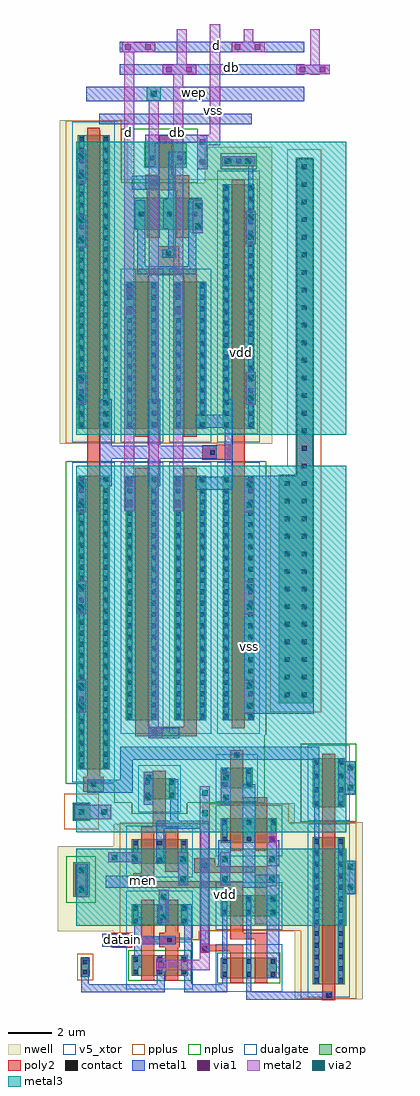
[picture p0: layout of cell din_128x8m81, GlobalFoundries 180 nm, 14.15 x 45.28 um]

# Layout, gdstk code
from math import pi, radians
import gdstk
lib = gdstk.Library(unit=1e-6, precision=1e-09)
def R(c, l, rs):  # rectangles x0, y0, x1, y1
    for r in rs: c.add(gdstk.rectangle(r[:2], r[2:], *l))
def A(c, l, x, y, w, h, nx, ny, dx, dy):  # array of equal rectangles
    R(c, l, [(x+i*dx, y+j*dy, x+i*dx+w, y+j*dy+h) for i in range(nx) for j in range(ny)])
def P(c, l, *ps):  # polygons
    for p in ps: c.add(gdstk.Polygon(p, *l))
nwell = (21, 0)
comp = (22, 0)
poly2 = (30, 0)
pplus = (31, 0)
nplus = (32, 0)
contact = (33, 0)
metal1 = (34, 0)
via1 = (35, 0)
metal2 = (36, 0)
via2 = (38, 0)
metal3 = (42, 0)
dualgate = (55, 0)
v5_xtor = (112, 1)

via1_x2_r90_128x8m81 = lib.new_cell('via1_x2_R90_128x8m81')
R(via1_x2_r90_128x8m81, metal1, [(0,0,0.46,1.54)])
R(via1_x2_r90_128x8m81, via1, [(0.1,0.2,0.36,0.46), (0.1,1.13,0.36,1.39)])
R(via1_x2_r90_128x8m81, metal2, [(0,0,0.46,1.54)])

m1_pactive4310590548728_ = lib.new_cell('M1_PACTIVE4310590548728_128x8m81')
R(m1_pactive4310590548728_, comp, [(-0.21,-0.445,0.21,0.445)])
R(m1_pactive4310590548728_, pplus, [(-0.37,-0.605,0.37,0.605)])
R(m1_pactive4310590548728_, contact, [(-0.11,-0.345,0.11,-0.125), (-0.11,0.125,0.11,0.345)])
R(m1_pactive4310590548728_, metal1, [(-0.17,-0.405,0.17,0.405)])

m1_psub__45111340_128x8m = lib.new_cell('M1_PSUB$$45111340_128x8m81')
R(m1_psub__45111340_128x8m, comp, [(-0.4,-0.415,0.4,0.415)])
R(m1_psub__45111340_128x8m, pplus, [(-0.795,-0.82,0.795,0.82)])
R(m1_psub__45111340_128x8m, contact, [(-0.11,-0.11,0.11,0.11)])
R(m1_psub__45111340_128x8m, metal1, [(-0.355,-0.37,0.355,0.37)])

m1_poly24310590548732_12 = lib.new_cell('M1_POLY24310590548732_128x8m81')
R(m1_poly24310590548732_12, poly2, [(-0.21,-0.21,0.21,0.21)])
R(m1_poly24310590548732_12, contact, [(-0.11,-0.11,0.11,0.11)])
R(m1_poly24310590548732_12, metal1, [(-0.17,-0.17,0.17,0.17)])

pmos_5p0431059054871_128 = lib.new_cell('pmos_5p0431059054871_128x8m81')
R(pmos_5p0431059054871_128, nwell, [(-1.04,-0.6,1.64,7.41)])
R(pmos_5p0431059054871_128, comp, [(-0.44,0,1.04,6.81), (-0.44,0,-0.08,6.81), (0.68,0,1.04,6.81)])
R(pmos_5p0431059054871_128, poly2, [(0,-0.22,0.6,7.03), (0,6.81,0.6,7.03)])
R(pmos_5p0431059054871_128, pplus, [(-0.6,-0.23,1.2,7.04)])
A(pmos_5p0431059054871_128, contact, -0.37, 0.07, 0.22, 0.22, 1, 7, 0, 0.54)
A(pmos_5p0431059054871_128, contact, 0.75, 0.07, 0.22, 0.22, 1, 7, 0, 0.54)
A(pmos_5p0431059054871_128, contact, -0.37, 3.845, 0.22, 0.22, 1, 6, 0, 0.535)
A(pmos_5p0431059054871_128, contact, 0.75, 3.845, 0.22, 0.22, 1, 6, 0, 0.535)
R(pmos_5p0431059054871_128, metal1, [(-0.375,0,-0.145,6.81), (-0.375,0,-0.145,6.81), (0.745,0,0.975,6.81), (0.745,0,0.975,6.81)])
R(pmos_5p0431059054871_128, dualgate, [(-0.68,-0.62,1.28,7.43)])
R(pmos_5p0431059054871_128, v5_xtor, [(-0.68,-0.62,1.28,7.43)])
pmos_5p0431059054871_128.add(gdstk.Label('S', (-0.26,3.405), layer=34, texttype=0))
pmos_5p0431059054871_128.add(gdstk.Label('D', (0.86,3.405), layer=34, texttype=0))

pmos_1p2__46889004_128x8 = lib.new_cell('pmos_1p2$$46889004_128x8m81')
R(pmos_1p2__46889004_128x8, nwell, [(-1.43,-0.71,1.715,7.51)])
R(pmos_1p2__46889004_128x8, poly2, [(-0.155,-0.37,0.445,-0.005), (-0.155,6.805,0.445,7.165)])
R(pmos_1p2__46889004_128x8, pplus, [(-1.145,-0.685,1.43,7.485)])
pmos_1p2__46889004_128x8.add(gdstk.Reference(pmos_5p0431059054871_128, (-0.155,0)))

via1_r90_128x8m81 = lib.new_cell('via1_R90_128x8m81')
R(via1_r90_128x8m81, metal1, [(0,0,0.465,0.64)])
R(via1_r90_128x8m81, via1, [(0.1,0.2,0.36,0.46)])
R(via1_r90_128x8m81, metal2, [(0,0,0.465,0.635)])

via1_x2_128x8m81 = lib.new_cell('via1_x2_128x8m81')
R(via1_x2_128x8m81, metal1, [(0,-0.005,0.46,1.59)])
R(via1_x2_128x8m81, via1, [(0.1,0.2,0.36,0.46), (0.1,1.13,0.36,1.39)])
R(via1_x2_128x8m81, metal2, [(0,0,0.46,1.59)])

m1_nwell4310590548733_12 = lib.new_cell('M1_NWELL4310590548733_128x8m81')
R(m1_nwell4310590548733_12, nwell, [(-0.64,-0.43,0.64,0.43)])
R(m1_nwell4310590548733_12, comp, [(-0.68,-0.21,0.68,0.21)])
R(m1_nwell4310590548733_12, nplus, [(-0.84,-0.37,0.84,0.37)])
A(m1_nwell4310590548733_12, contact, -0.58, -0.11, 0.22, 0.22, 3, 1, 0.47, 0)
R(m1_nwell4310590548733_12, metal1, [(-0.64,-0.17,0.64,0.17)])

via2_x2_r90_128x8m81 = lib.new_cell('via2_x2_R90_128x8m81')
R(via2_x2_r90_128x8m81, metal2, [(0,0,0.46,1.54)])
R(via2_x2_r90_128x8m81, via2, [(0.1,0.2,0.36,0.46), (0.1,1.13,0.36,1.39)])
R(via2_x2_r90_128x8m81, metal3, [(0,-0.005,0.465,1.54)])

via1_2_x2_r90_128x8m81 = lib.new_cell('via1_2_x2_R90_128x8m81')
via1_2_x2_r90_128x8m81.add(gdstk.Reference(via1_x2_r90_128x8m81, (0,0)))
via1_2_x2_r90_128x8m81.add(gdstk.Reference(via2_x2_r90_128x8m81, (0,0)))

po_m1_r270_128x8m81 = lib.new_cell('po_m1_R270_128x8m81')
P(po_m1_r270_128x8m81, poly2, [(-0.005,-0.155),(-0.005,0.815),(0.685,0.815),(0.685,-0.095),(0.68,-0.095),(0.68,-0.155)])
R(po_m1_r270_128x8m81, contact, [(0.23,0.22,0.45,0.44)])
R(po_m1_r270_128x8m81, metal1, [(0.04,0.15,0.64,0.505)])

m2_m1__46894124_128x8m81 = lib.new_cell('M2_M1$$46894124_128x8m81')
R(m2_m1__46894124_128x8m81, metal1, [(-0.32,-0.335,0.325,0.335)])
R(m2_m1__46894124_128x8m81, via1, [(-0.13,-0.13,0.13,0.13)])
R(m2_m1__46894124_128x8m81, metal2, [(-0.32,-0.335,0.325,0.335)])

po_m1_128x8m81 = lib.new_cell('po_m1_128x8m81')
R(po_m1_128x8m81, poly2, [(-0.15,0,0.81,0.68)])
R(po_m1_128x8m81, contact, [(0.22,0.23,0.44,0.45)])
R(po_m1_128x8m81, metal1, [(0.045,0.155,0.62,0.525)])

m1_psub__46892076_128x8m = lib.new_cell('M1_PSUB$$46892076_128x8m81')
R(m1_psub__46892076_128x8m, comp, [(-0.4,-12.65,0.4,12.655)])
R(m1_psub__46892076_128x8m, pplus, [(-0.795,-13.06,0.795,13.065)])
A(m1_psub__46892076_128x8m, contact, -0.11, -11.535, 0.22, 0.22, 1, 5, 0, 0.815)
A(m1_psub__46892076_128x8m, contact, -0.11, -7.455, 0.22, 0.22, 1, 4, 0, 0.815)
A(m1_psub__46892076_128x8m, contact, -0.11, -4.19, 0.22, 0.22, 1, 4, 0, 0.815)
A(m1_psub__46892076_128x8m, contact, -0.11, -0.925, 0.22, 0.22, 1, 3, 0, 0.815)
A(m1_psub__46892076_128x8m, contact, -0.11, 1.525, 0.22, 0.22, 1, 4, 0, 0.815)
A(m1_psub__46892076_128x8m, contact, -0.11, 4.79, 0.22, 0.22, 1, 4, 0, 0.815)
A(m1_psub__46892076_128x8m, contact, -0.11, 8.055, 0.22, 0.22, 1, 5, 0, 0.815)
R(m1_psub__46892076_128x8m, contact, [(-0.11,-12.355,0.11,-12.135), (-0.11,12.135,0.11,12.355)])
R(m1_psub__46892076_128x8m, metal1, [(-0.355,-12.61,0.355,12.61)])

m1_nwell__46891052_128x8 = lib.new_cell('M1_NWELL$$46891052_128x8m81')
R(m1_nwell__46891052_128x8, nwell, [(-1.105,-1.545,1.105,1.545)])
R(m1_nwell__46891052_128x8, comp, [(-0.39,-0.81,0.39,0.81)])
R(m1_nwell__46891052_128x8, nplus, [(-0.655,-1.08,0.65,1.08)])
R(m1_nwell__46891052_128x8, contact, [(-0.11,-0.52,0.11,-0.3), (-0.11,0.3,0.11,0.52)])
P(m1_nwell__46891052_128x8, metal1, [(-0.235,-0.71),(-0.235,-0.705),(-0.29,-0.705),(-0.29,0.71),(0.29,0.71),(0.29,-0.705),(0.235,-0.705),(0.235,-0.71)])

via1_128x8m81 = lib.new_cell('via1_128x8m81')
P(via1_128x8m81, metal1, [(0,-0.005),(0,0.66),(0.465,0.66),(0.465,0),(0.445,0),(0.445,-0.005)])
R(via1_128x8m81, via1, [(0.1,0.2,0.36,0.46)])
R(via1_128x8m81, metal2, [(0,0,0.465,0.66)])

via2_x2_128x8m81 = lib.new_cell('via2_x2_128x8m81')
R(via2_x2_128x8m81, metal2, [(0,-0.005,0.465,1.59)])
R(via2_x2_128x8m81, via2, [(0.1,0.2,0.36,0.46), (0.1,1.13,0.36,1.39)])
R(via2_x2_128x8m81, metal3, [(0,-0.005,0.465,1.59)])

via1_2_x2_128x8m81 = lib.new_cell('via1_2_x2_128x8m81')
via1_2_x2_128x8m81.add(gdstk.Reference(via1_x2_r90_128x8m81, (0,0)))
via1_2_x2_128x8m81.add(gdstk.Reference(via2_x2_r90_128x8m81, (0,0)))

po_m1_r90_128x8m81 = lib.new_cell('po_m1_R90_128x8m81')
R(po_m1_r90_128x8m81, poly2, [(0,-0.15,0.68,0.81)])
R(po_m1_r90_128x8m81, contact, [(0.23,0.22,0.45,0.44)])
R(po_m1_r90_128x8m81, metal1, [(0.04,0.155,0.635,0.51)])

m2_m1__43375660_r90_128x = lib.new_cell('M2_M1$$43375660_R90_128x8m81')
R(m2_m1__43375660_r90_128x, metal1, [(-0.335,-0.85,0.335,0.85)])
R(m2_m1__43375660_r90_128x, via1, [(-0.13,-0.66,0.13,-0.4), (-0.13,0.4,0.13,0.66)])
R(m2_m1__43375660_r90_128x, metal2, [(-0.335,-0.85,0.335,0.85)])

pmos_5p0431059054873_128 = lib.new_cell('pmos_5p0431059054873_128x8m81')
R(pmos_5p0431059054873_128, nwell, [(-1.04,-0.6,2.76,1.74)])
A(pmos_5p0431059054873_128, comp, -0.44, 0, 0.36, 1.14, 3, 1, 1.12, 0)
R(pmos_5p0431059054873_128, comp, [(-0.44,0,2.16,1.14)])
R(pmos_5p0431059054873_128, poly2, [(0,-0.22,0.6,1.36), (1.12,-0.22,1.72,1.36), (0,1.14,0.6,1.36), (1.12,1.14,1.72,1.36)])
R(pmos_5p0431059054873_128, pplus, [(-0.6,-0.23,2.32,1.37)])
A(pmos_5p0431059054873_128, contact, -0.37, 0.07, 0.22, 0.22, 3, 2, 1.12, 0.78)
R(pmos_5p0431059054873_128, metal1, [(-0.375,0,-0.145,1.14), (-0.375,0,-0.145,1.14), (0.745,0,0.975,1.14), (0.745,0,0.975,1.14), (1.865,0,2.095,1.14), (1.865,0,2.095,1.14)])
R(pmos_5p0431059054873_128, dualgate, [(-0.68,-0.62,2.4,1.76)])
R(pmos_5p0431059054873_128, v5_xtor, [(-0.68,-0.62,2.4,1.76)])
pmos_5p0431059054873_128.add(gdstk.Label('S', (-0.26,0.57), layer=34, texttype=0))
pmos_5p0431059054873_128.add(gdstk.Label('S', (1.98,0.57), layer=34, texttype=0))
pmos_5p0431059054873_128.add(gdstk.Label('D', (0.86,0.57), layer=34, texttype=0))

pmos_1p2__46273580_128x8 = lib.new_cell('pmos_1p2$$46273580_128x8m81')
R(pmos_1p2__46273580_128x8, nwell, [(-1.43,-0.71,2.84,0.175)])
R(pmos_1p2__46273580_128x8, poly2, [(-0.155,-0.37,0.445,-0.005), (0.965,-0.37,1.565,-0.005), (-0.155,1.135,0.445,1.5), (0.965,1.135,1.565,1.5)])
R(pmos_1p2__46273580_128x8, pplus, [(-1.145,-0.685,2.55,1.82)])
pmos_1p2__46273580_128x8.add(gdstk.Reference(pmos_5p0431059054873_128, (-0.155,0)))

m3_m2__46895148_128x8m81 = lib.new_cell('M3_M2$$46895148_128x8m81')
R(m3_m2__46895148_128x8m81, metal2, [(-0.325,-0.335,0.32,0.335)])
R(m3_m2__46895148_128x8m81, via2, [(-0.13,-0.13,0.13,0.13)])
R(m3_m2__46895148_128x8m81, metal3, [(-0.325,-0.335,0.325,0.335)])

pmos_5p0431059054874_128 = lib.new_cell('pmos_5p0431059054874_128x8m81')
R(pmos_5p0431059054874_128, nwell, [(-1.04,-0.6,1.64,14.21)])
R(pmos_5p0431059054874_128, comp, [(-0.44,0,1.04,13.61), (-0.44,0,-0.08,13.61), (0.68,0,1.04,13.61)])
R(pmos_5p0431059054874_128, poly2, [(0,-0.22,0.6,13.83), (0,13.61,0.6,13.83)])
R(pmos_5p0431059054874_128, pplus, [(-0.6,-0.23,1.2,13.84)])
A(pmos_5p0431059054874_128, contact, -0.37, 0.07, 0.22, 0.22, 1, 25, 0, 0.51)
A(pmos_5p0431059054874_128, contact, 0.75, 0.07, 0.22, 0.22, 1, 25, 0, 0.51)
R(pmos_5p0431059054874_128, contact, [(-0.37,12.815,-0.15,13.035), (0.75,12.815,0.97,13.035), (-0.37,13.32,-0.15,13.54), (0.75,13.32,0.97,13.54)])
R(pmos_5p0431059054874_128, metal1, [(-0.375,0,-0.145,13.61), (-0.375,0,-0.145,13.61), (0.745,0,0.975,13.61), (0.745,0,0.975,13.61)])
R(pmos_5p0431059054874_128, dualgate, [(-0.68,-0.62,1.28,14.23)])
R(pmos_5p0431059054874_128, v5_xtor, [(-0.68,-0.62,1.28,14.23)])
pmos_5p0431059054874_128.add(gdstk.Label('S', (-0.26,6.805), layer=34, texttype=0))
pmos_5p0431059054874_128.add(gdstk.Label('D', (0.86,6.805), layer=34, texttype=0))

pmos_1p2__46887980_128x8 = lib.new_cell('pmos_1p2$$46887980_128x8m81')
R(pmos_1p2__46887980_128x8, nwell, [(-1.43,-0.71,1.72,14.31)])
R(pmos_1p2__46887980_128x8, poly2, [(-0.155,-0.37,0.44,-0.005), (-0.155,13.605,0.44,13.97)])
R(pmos_1p2__46887980_128x8, pplus, [(-1.145,-0.685,1.43,14.285)])
pmos_1p2__46887980_128x8.add(gdstk.Reference(pmos_5p0431059054874_128, (-0.155,0)))

nmos_5p0431059054875_128 = lib.new_cell('nmos_5p0431059054875_128x8m81')
R(nmos_5p0431059054875_128, comp, [(-0.44,0,1.04,11.34), (-0.44,0,-0.08,11.34), (0.68,0,1.04,11.34)])
R(nmos_5p0431059054875_128, poly2, [(0,-0.22,0.6,11.56), (0,11.34,0.6,11.56)])
R(nmos_5p0431059054875_128, nplus, [(-0.6,-0.23,1.2,11.57)])
A(nmos_5p0431059054875_128, contact, -0.37, 0.07, 0.22, 0.22, 1, 13, 0, 0.525)
A(nmos_5p0431059054875_128, contact, 0.75, 0.07, 0.22, 0.22, 1, 13, 0, 0.525)
A(nmos_5p0431059054875_128, contact, -0.37, 6.89, 0.22, 0.22, 1, 9, 0, 0.52)
A(nmos_5p0431059054875_128, contact, 0.75, 6.89, 0.22, 0.22, 1, 9, 0, 0.52)
R(nmos_5p0431059054875_128, metal1, [(-0.375,0,-0.145,11.34), (-0.375,0,-0.145,11.34), (0.745,0,0.975,11.34), (0.745,0,0.975,11.34)])
R(nmos_5p0431059054875_128, dualgate, [(-0.68,-0.62,1.28,11.96)])
R(nmos_5p0431059054875_128, v5_xtor, [(-0.68,-0.62,1.28,11.96)])
nmos_5p0431059054875_128.add(gdstk.Label('S', (-0.26,5.67), layer=34, texttype=0))
nmos_5p0431059054875_128.add(gdstk.Label('D', (0.86,5.67), layer=34, texttype=0))

nmos_1p2__46883884_128x8 = lib.new_cell('nmos_1p2$$46883884_128x8m81')
R(nmos_1p2__46883884_128x8, poly2, [(-0.155,-0.365,0.445,-0.005), (-0.155,11.34,0.445,11.705)])
R(nmos_1p2__46883884_128x8, nplus, [(-1.145,-0.685,1.43,12.02)])
nmos_1p2__46883884_128x8.add(gdstk.Reference(nmos_5p0431059054875_128, (-0.155,0)))

pmos_5p0431059054876_128 = lib.new_cell('pmos_5p0431059054876_128x8m81')
R(pmos_5p0431059054876_128, nwell, [(-1.04,-0.6,2.76,1.56)])
A(pmos_5p0431059054876_128, comp, -0.44, 0, 0.36, 0.96, 3, 1, 1.12, 0)
R(pmos_5p0431059054876_128, comp, [(-0.44,0,2.16,0.96)])
R(pmos_5p0431059054876_128, poly2, [(0,-0.22,0.6,1.18), (1.12,-0.22,1.72,1.18), (0,0.96,0.6,1.18), (1.12,0.96,1.72,1.18)])
R(pmos_5p0431059054876_128, pplus, [(-0.6,-0.23,2.32,1.19)])
A(pmos_5p0431059054876_128, contact, -0.37, 0.07, 0.22, 0.22, 3, 2, 1.12, 0.6)
R(pmos_5p0431059054876_128, metal1, [(-0.375,0,-0.145,0.96), (-0.375,0,-0.145,0.96), (0.745,0,0.975,0.96), (0.745,0,0.975,0.96), (1.865,0,2.095,0.96), (1.865,0,2.095,0.96)])
R(pmos_5p0431059054876_128, dualgate, [(-0.68,-0.62,2.4,1.58)])
R(pmos_5p0431059054876_128, v5_xtor, [(-0.68,-0.62,2.4,1.58)])
pmos_5p0431059054876_128.add(gdstk.Label('S', (-0.26,0.48), layer=34, texttype=0))
pmos_5p0431059054876_128.add(gdstk.Label('S', (1.98,0.48), layer=34, texttype=0))
pmos_5p0431059054876_128.add(gdstk.Label('D', (0.86,0.48), layer=34, texttype=0))

pmos_1p2__46885932_128x8 = lib.new_cell('pmos_1p2$$46885932_128x8m81')
R(pmos_1p2__46885932_128x8, nwell, [(-1.43,-0.705,2.84,1.66)])
R(pmos_1p2__46885932_128x8, poly2, [(-0.155,-0.37,0.445,0), (0.965,-0.365,1.565,0), (-0.155,0.955,0.445,1.32), (0.965,0.955,1.565,1.32)])
R(pmos_1p2__46885932_128x8, pplus, [(-1.145,-0.68,2.55,1.635)])
pmos_1p2__46885932_128x8.add(gdstk.Reference(pmos_5p0431059054876_128, (-0.155,0)))

nmos_5p0431059054877_128 = lib.new_cell('nmos_5p0431059054877_128x8m81')
R(nmos_5p0431059054877_128, comp, [(-0.44,0,1.04,13.61), (-0.44,0,-0.08,13.61), (0.68,0,1.04,13.61)])
R(nmos_5p0431059054877_128, poly2, [(0,-0.22,0.6,13.83), (0,13.61,0.6,13.83)])
R(nmos_5p0431059054877_128, nplus, [(-0.6,-0.23,1.2,13.84)])
A(nmos_5p0431059054877_128, contact, -0.37, 0.07, 0.22, 0.22, 1, 25, 0, 0.51)
A(nmos_5p0431059054877_128, contact, 0.75, 0.07, 0.22, 0.22, 1, 25, 0, 0.51)
R(nmos_5p0431059054877_128, contact, [(-0.37,12.815,-0.15,13.035), (0.75,12.815,0.97,13.035), (-0.37,13.32,-0.15,13.54), (0.75,13.32,0.97,13.54)])
R(nmos_5p0431059054877_128, metal1, [(-0.375,0,-0.145,13.61), (-0.375,0,-0.145,13.61), (0.745,0,0.975,13.61), (0.745,0,0.975,13.61)])
R(nmos_5p0431059054877_128, dualgate, [(-0.68,-0.62,1.28,14.23)])
R(nmos_5p0431059054877_128, v5_xtor, [(-0.68,-0.62,1.28,14.23)])
nmos_5p0431059054877_128.add(gdstk.Label('S', (-0.26,6.805), layer=34, texttype=0))
nmos_5p0431059054877_128.add(gdstk.Label('D', (0.86,6.805), layer=34, texttype=0))

nmos_1p2__46884908_128x8 = lib.new_cell('nmos_1p2$$46884908_128x8m81')
R(nmos_1p2__46884908_128x8, poly2, [(-0.155,-0.37,0.445,-0.005), (-0.155,13.605,0.445,13.97)])
R(nmos_1p2__46884908_128x8, nplus, [(-1.145,-0.685,1.43,14.285)])
nmos_1p2__46884908_128x8.add(gdstk.Reference(nmos_5p0431059054877_128, (-0.155,0)))

m3_m2__43368492_r90_128x = lib.new_cell('M3_M2$$43368492_R90_128x8m81')
R(m3_m2__43368492_r90_128x, metal2, [(-0.335,-0.85,0.335,0.85)])
R(m3_m2__43368492_r90_128x, via2, [(-0.13,-0.66,0.13,-0.4), (-0.13,0.4,0.13,0.66)])
R(m3_m2__43368492_r90_128x, metal3, [(-0.335,-0.85,0.335,0.85)])

nmos_5p0431059054878_128 = lib.new_cell('nmos_5p0431059054878_128x8m81')
R(nmos_5p0431059054878_128, comp, [(-0.44,0,1.04,0.96), (-0.44,0,-0.08,0.96), (0.68,0,1.04,0.96)])
R(nmos_5p0431059054878_128, poly2, [(0,-0.22,0.6,1.18), (0,0.96,0.6,1.18)])
R(nmos_5p0431059054878_128, nplus, [(-0.6,-0.23,1.2,1.19)])
R(nmos_5p0431059054878_128, contact, [(-0.37,0.07,-0.15,0.29), (0.75,0.07,0.97,0.29), (-0.37,0.67,-0.15,0.89), (0.75,0.67,0.97,0.89)])
R(nmos_5p0431059054878_128, metal1, [(-0.375,0,-0.145,0.96), (-0.375,0,-0.145,0.96), (0.745,0,0.975,0.96), (0.745,0,0.975,0.96)])
R(nmos_5p0431059054878_128, dualgate, [(-0.68,-0.62,1.28,1.58)])
R(nmos_5p0431059054878_128, v5_xtor, [(-0.68,-0.62,1.28,1.58)])
nmos_5p0431059054878_128.add(gdstk.Label('S', (-0.26,0.48), layer=34, texttype=0))
nmos_5p0431059054878_128.add(gdstk.Label('D', (0.86,0.48), layer=34, texttype=0))

nmos_1p2__46563372_128x8 = lib.new_cell('nmos_1p2$$46563372_128x8m81')
R(nmos_1p2__46563372_128x8, poly2, [(-0.155,-0.37,0.44,-0.005), (-0.15,-0.37,0.445,-0.005), (-0.155,0.955,0.44,1.32), (-0.15,0.955,0.445,1.32)])
R(nmos_1p2__46563372_128x8, nplus, [(-1.145,-0.685,1.43,1.635)])
nmos_1p2__46563372_128x8.add(gdstk.Reference(nmos_5p0431059054878_128, (-0.155,0)))

m1_psub__46893100_128x8m = lib.new_cell('M1_PSUB$$46893100_128x8m81')
R(m1_psub__46893100_128x8m, comp, [(-0.4,-5.305,0.4,5.31)])
R(m1_psub__46893100_128x8m, pplus, [(-0.795,-5.715,0.795,5.72)])
A(m1_psub__46893100_128x8m, contact, -0.11, -4.19, 0.22, 0.22, 1, 4, 0, 0.815)
A(m1_psub__46893100_128x8m, contact, -0.11, -0.925, 0.22, 0.22, 1, 3, 0, 0.815)
A(m1_psub__46893100_128x8m, contact, -0.11, 1.525, 0.22, 0.22, 1, 4, 0, 0.815)
R(m1_psub__46893100_128x8m, contact, [(-0.11,-5.01,0.11,-4.79), (-0.11,4.79,0.11,5.01)])
R(m1_psub__46893100_128x8m, metal1, [(-0.355,-5.265,0.355,5.265)])

pmos_5p0431059054879_128 = lib.new_cell('pmos_5p0431059054879_128x8m81')
R(pmos_5p0431059054879_128, nwell, [(-1.04,-0.6,1.64,11.94)])
R(pmos_5p0431059054879_128, comp, [(-0.44,0,1.04,11.34), (-0.44,0,-0.08,11.34), (0.68,0,1.04,11.34)])
R(pmos_5p0431059054879_128, poly2, [(0,-0.22,0.6,11.56), (0,11.34,0.6,11.56)])
R(pmos_5p0431059054879_128, pplus, [(-0.6,-0.23,1.2,11.57)])
A(pmos_5p0431059054879_128, contact, -0.37, 0.07, 0.22, 0.22, 1, 13, 0, 0.525)
A(pmos_5p0431059054879_128, contact, 0.75, 0.07, 0.22, 0.22, 1, 13, 0, 0.525)
A(pmos_5p0431059054879_128, contact, -0.37, 6.89, 0.22, 0.22, 1, 9, 0, 0.52)
A(pmos_5p0431059054879_128, contact, 0.75, 6.89, 0.22, 0.22, 1, 9, 0, 0.52)
R(pmos_5p0431059054879_128, metal1, [(-0.375,0,-0.145,11.34), (-0.375,0,-0.145,11.34), (0.745,0,0.975,11.34), (0.745,0,0.975,11.34)])
R(pmos_5p0431059054879_128, dualgate, [(-0.68,-0.62,1.28,11.96)])
R(pmos_5p0431059054879_128, v5_xtor, [(-0.68,-0.62,1.28,11.96)])
pmos_5p0431059054879_128.add(gdstk.Label('S', (-0.26,5.67), layer=34, texttype=0))
pmos_5p0431059054879_128.add(gdstk.Label('D', (0.86,5.67), layer=34, texttype=0))

nmos_5p04310590548710_12 = lib.new_cell('nmos_5p04310590548710_128x8m81')
R(nmos_5p04310590548710_12, comp, [(-0.44,0,1.04,2.27), (-0.44,0,-0.08,2.27), (0.68,0,1.04,2.27)])
R(nmos_5p04310590548710_12, poly2, [(0,-0.22,0.6,2.49), (0,2.27,0.6,2.49)])
R(nmos_5p04310590548710_12, nplus, [(-0.6,-0.23,1.2,2.5)])
A(nmos_5p04310590548710_12, contact, -0.37, 0.71, 0.22, 0.22, 1, 3, 0, 0.635)
A(nmos_5p04310590548710_12, contact, 0.75, 0.71, 0.22, 0.22, 1, 3, 0, 0.635)
R(nmos_5p04310590548710_12, contact, [(-0.37,0.07,-0.15,0.29), (0.75,0.07,0.97,0.29)])
R(nmos_5p04310590548710_12, metal1, [(-0.375,0,-0.145,2.27), (-0.375,0,-0.145,2.27), (0.745,0,0.975,2.27), (0.745,0,0.975,2.27)])
R(nmos_5p04310590548710_12, dualgate, [(-0.68,-0.62,1.28,2.89)])
R(nmos_5p04310590548710_12, v5_xtor, [(-0.68,-0.62,1.28,2.89)])
nmos_5p04310590548710_12.add(gdstk.Label('S', (-0.26,1.135), layer=34, texttype=0))
nmos_5p04310590548710_12.add(gdstk.Label('D', (0.86,1.135), layer=34, texttype=0))

nmos_5p04310590548711_12 = lib.new_cell('nmos_5p04310590548711_128x8m81')
A(nmos_5p04310590548711_12, comp, -0.44, 0, 0.36, 0.96, 3, 1, 1.12, 0)
R(nmos_5p04310590548711_12, comp, [(-0.44,0,2.16,0.96)])
R(nmos_5p04310590548711_12, poly2, [(0,-0.22,0.6,1.18), (1.12,-0.22,1.72,1.18), (0,0.96,0.6,1.18), (1.12,0.96,1.72,1.18)])
R(nmos_5p04310590548711_12, nplus, [(-0.6,-0.23,2.32,1.19)])
A(nmos_5p04310590548711_12, contact, -0.37, 0.07, 0.22, 0.22, 3, 2, 1.12, 0.6)
R(nmos_5p04310590548711_12, metal1, [(-0.375,0,-0.145,0.96), (-0.375,0,-0.145,0.96), (0.745,0,0.975,0.96), (0.745,0,0.975,0.96), (1.865,0,2.095,0.96), (1.865,0,2.095,0.96)])
R(nmos_5p04310590548711_12, dualgate, [(-0.68,-0.62,2.4,1.58)])
R(nmos_5p04310590548711_12, v5_xtor, [(-0.68,-0.62,2.4,1.58)])
nmos_5p04310590548711_12.add(gdstk.Label('S', (-0.26,0.48), layer=34, texttype=0))
nmos_5p04310590548711_12.add(gdstk.Label('S', (1.98,0.48), layer=34, texttype=0))
nmos_5p04310590548711_12.add(gdstk.Label('D', (0.86,0.48), layer=34, texttype=0))

din_128x8m81 = lib.new_cell('din_128x8m81')
R(din_128x8m81, nwell, [(9.89,-0.255,13.035,7.965), (1.49,2.49,5.76,4.855), (5.705,25.51,8.855,39.29), (1.555,33.715,6.615,37.625)])
P(din_128x8m81, nwell, [(1.485,2.895),(1.485,2.9),(-1.115,2.9),(-1.115,6.85),(1.49,6.85),(1.49,7.885),(9.9,7.885),(9.9,2.895),(9.885,2.895),(9.885,2.9),(5.76,2.9),(5.76,2.895)])
R(din_128x8m81, comp, [(2.435,35.44,5.58,36.925), (2.905,38.32,4.89,39.46)])
R(din_128x8m81, poly2, [(11.165,-0.285,11.765,0.45), (3.885,1.8,4.485,3.195), (11.165,7.26,11.765,8.655), (6.905,10.495,7.505,11.295), (2.5,11.94,5.34,12.395), (0.26,23.675,0.86,26.7), (3.555,33.895,4.525,34.68)])
P(din_128x8m81, poly2, [(2.5,33.33),(2.5,33.63),(3.555,33.63),(3.555,34.305),(4.525,34.305),(4.525,33.63),(5.34,33.63),(5.34,33.33)],
  [(6.98,23.675),(6.98,24.775),(6.255,24.775),(6.255,25.465),(6.98,25.465),(6.98,26.7),(7.58,26.7),(7.58,23.675)],
  [(6.905,8.29),(6.905,9.915),(7.505,9.915),(7.505,9.12),(8.625,9.12),(8.625,8.29),(8.025,8.29),(8.025,8.82),(7.505,8.82),(7.505,8.29)],
  [(2.765,7.44),(2.765,7.745),(3.315,7.745),(3.315,9.035),(3.915,9.035),(3.915,7.745),(4.485,7.745),(4.485,7.44),(3.885,7.44),(3.885,7.475),(3.365,7.475),(3.365,7.44)],
  [(8.025,4.71),(8.025,5.615),(8.02,5.615),(8.02,5.62),(5.485,5.62),(5.485,5.92),(8.625,5.92),(8.625,4.71)],
  [(2.765,4.915),(2.765,5.845),(3.365,5.845),(3.365,5.22),(7.505,5.22),(7.505,4.915)],
  [(2.765,1.81),(2.765,2.345),(2.35,2.345),(2.35,2.34),(1.39,2.34),(1.39,2.645),(2.765,2.645),(2.765,3.195),(3.365,3.195),(3.365,1.81)],
  [(3.025,35.08),(3.025,37.975),(3.6,37.975),(3.6,39.825),(4.2,39.825),(4.2,37.975),(4.99,37.975),(4.99,35.08),(4.39,35.08),(4.39,37.275),(3.625,37.275),(3.625,35.08)],
  [(8.025,1.68),(8.025,2.535),(6.905,2.535),(6.905,3.415),(7.505,3.415),(7.505,2.84),(8.625,2.84),(8.625,1.68)],
  [(6.905,1.83),(6.905,1.985),(5.685,1.985),(5.685,2.285),(7.505,2.285),(7.505,1.83)])
R(din_128x8m81, pplus, [(10.175,-0.23,12.75,7.94), (1.775,2.515,5.47,4.83), (1.775,2.92,10.185,7.94), (1.63,25.99,6.415,37.79), (1.84,33.695,6.35,37.65)])
R(din_128x8m81, nplus, [(-0.71,4.225,-0.645,6.385), (10.175,7.975,12.75,11.61), (1.84,37.64,5.385,40.14)])
P(din_128x8m81, nplus, [(1.51,8.86),(1.51,12.1),(8.495,12.1),(8.495,12.01),(8.49,12.01),(8.49,8.86)])
R(din_128x8m81, contact, [(2.655,36.075,2.875,36.295), (3.975,36.075,4.195,36.295), (5.14,36.075,5.36,36.295), (3.13,38.67,3.35,38.89), (4.445,38.67,4.665,38.89)])
R(din_128x8m81, metal1, [(0.97,2.195,2.045,2.795), (1.135,4.925,3.165,5.47), (8.59,5.915,9.17,7.135), (12.045,9.245,12.325,10.79), (3.09,11.855,4.53,12.335), (2.335,37.3,3.625,37.965), (7.725,37.34,7.955,38.645), (0.82,40.34,7.9,40.82), (0.225,41.405,10.335,42.09), (1.775,42.65,10.335,43.135), (1.775,43.695,10.335,44.18)])
P(din_128x8m81, metal1, [(2.95,38.365),(2.95,39.85),(5.45,39.85),(5.45,39.475),(3.43,39.475),(3.43,38.365)],
  [(4.015,34.15),(4.015,35.485),(3.795,35.485),(3.795,36.88),(4.015,36.88),(4.015,39.075),(4.845,39.075),(4.845,38.48),(4.375,38.48),(4.375,34.15)],
  [(7.55,12.985),(7.55,24.045),(9.975,24.045),(9.975,38.735),(10.775,38.735),(10.775,12.985)],
  [(2.595,33.38),(2.595,35.485),(2.475,35.485),(2.475,36.82),(2.96,36.82),(2.96,33.75),(4.96,33.75),(4.96,36.88),(5.54,36.88),(5.54,35.485),(5.32,35.485),(5.32,33.38)],
  [(5.31,23.39),(5.31,23.99),(6.65,23.99),(6.65,26.26),(5.31,26.26),(5.31,26.86),(6.65,26.86),(6.65,27.595),(7.01,27.595),(7.01,23.39)],
  [(0.83,23.54),(0.83,27.595),(1.41,27.595),(1.41,25.42),(3.07,25.42),(3.07,27.595),(3.65,27.595),(3.65,25.42),(6.265,25.42),(6.265,24.82),(3.65,24.82),(3.65,23.54),(3.07,23.54),(3.07,24.82),(1.41,24.82),(1.41,23.54)],
  [(10.79,6.24),(10.79,10.855),(2.375,10.855),(2.375,9.325),(0.27,9.325),(0.27,9.925),(1.795,9.925),(1.795,11.455),(11.02,11.455),(11.02,6.24)],
  [(5.54,1.95),(5.54,7.67),(3.835,7.67),(3.835,6.085),(3.475,6.085),(3.475,8.04),(4.125,8.04),(4.125,9.955),(4.485,9.955),(4.485,8.04),(5.9,8.04),(5.9,1.95)],
  [(8.59,0.725),(8.59,4.915),(7.47,4.915),(7.47,9.72),(8.05,9.72),(8.05,5.515),(9.17,5.515),(9.17,0.725)],
  [(6.43,5.91),(6.43,5.915),(6.35,5.915),(6.35,7.135),(6.93,7.135),(6.93,5.915),(6.9,5.915),(6.9,5.91)],
  [(4.76,0.075),(4.76,4.155),(5.12,4.155),(5.12,0.445),(6.53,0.445),(6.53,4.04),(6.76,4.04),(6.76,0.075)],
  [(7.65,-0.275),(7.65,3.97),(7.88,3.97),(7.88,0.095),(11.635,0.095),(11.635,-0.275)],
  [(2.435,1.23),(2.435,3.575),(2.795,3.575),(2.795,2.68),(4.22,2.68),(4.22,2.31),(2.795,2.31),(2.795,1.23)],
  [(-0.005,0.075),(-0.005,1.415),(0.335,1.415),(0.335,0.445),(3.5,0.445),(3.5,1.22),(3.86,1.22),(3.86,0.075)])
R(din_128x8m81, metal2, [(3.115,11.885,3.585,42.09), (1.98,22.385,2.455,44.18), (10.615,42.65,11.06,44.745), (7.515,43.695,7.965,44.745)])
P(din_128x8m81, metal2, [(4.245,22.385),(4.245,43.135),(4.42,43.135),(4.42,44.745),(4.87,44.745),(4.87,42.65),(4.715,42.65),(4.715,22.385)],
  [(3.465,1.095),(3.465,1.58),(5.485,1.58),(5.485,9.64),(5.955,9.64),(5.955,1.095)],
  [(5.375,38.25),(5.375,39.85),(5.955,39.85),(5.955,44.995),(6.43,44.995),(6.43,44.985),(6.425,44.985),(6.425,39.365),(5.845,39.365),(5.845,38.25)])
R(din_128x8m81, metal3, [(-0.235,3.155,12.28,6.74), (-0.235,7.49,12.28,24.5), (-0.235,25.93,12.28,39.54)])
din_128x8m81.add(gdstk.Reference(via1_x2_r90_128x8m81, (3.415,43.695), rotation=pi/2))
din_128x8m81.add(gdstk.Reference(via1_x2_r90_128x8m81, (5.315,42.655), rotation=pi/2))
din_128x8m81.add(gdstk.Reference(via1_x2_r90_128x8m81, (8.5,43.695), rotation=pi/2))
din_128x8m81.add(gdstk.Reference(via1_x2_r90_128x8m81, (11.505,42.655), rotation=pi/2))
din_128x8m81.add(gdstk.Reference(m1_pactive4310590548728_, (0.165,1.245)))
din_128x8m81.add(gdstk.Reference(m1_psub__45111340_128x8m, (0,8.455)))
din_128x8m81.add(gdstk.Reference(m1_poly24310590548732_12, (7.205,11.085)))
din_128x8m81.add(gdstk.Reference(m1_poly24310590548732_12, (11.465,-0.075)))
din_128x8m81.add(gdstk.Reference(m1_poly24310590548732_12, (5.72,2.12)))
din_128x8m81.add(gdstk.Reference(m1_poly24310590548732_12, (3.38,12.15)))
din_128x8m81.add(gdstk.Reference(pmos_5p0431059054871_128, (11.165,0.455)))
din_128x8m81.add(gdstk.Reference(pmos_1p2__46889004_128x8, (4.895,26.22)))
din_128x8m81.add(gdstk.Reference(pmos_1p2__46889004_128x8, (2.655,26.22)))
din_128x8m81.add(gdstk.Reference(via1_r90_128x8m81, (3.735,11.855), rotation=pi/2))
din_128x8m81.add(gdstk.Reference(via1_x2_128x8m81, (4.25,22.385)))
din_128x8m81.add(gdstk.Reference(via1_x2_128x8m81, (2,22.385)))
din_128x8m81.add(gdstk.Reference(via1_x2_128x8m81, (5.38,38.255)))
din_128x8m81.add(gdstk.Reference(via1_x2_128x8m81, (1.985,31.34)))
din_128x8m81.add(gdstk.Reference(via1_x2_128x8m81, (4.25,31.34)))
din_128x8m81.add(gdstk.Reference(via1_x2_128x8m81, (9.06,7.505), rotation=pi))
din_128x8m81.add(gdstk.Reference(m1_nwell4310590548733_12, (7.295,38.635)))
din_128x8m81.add(gdstk.Reference(via1_2_x2_r90_128x8m81, (8.06,38.405), rotation=pi/2))
din_128x8m81.add(gdstk.Reference(via1_2_x2_r90_128x8m81, (2.79,6.1), rotation=pi/2))
din_128x8m81.add(gdstk.Reference(po_m1_r270_128x8m81, (3.12,38.005), rotation=3*pi/2))
din_128x8m81.add(gdstk.Reference(po_m1_r270_128x8m81, (1.535,2.835), rotation=3*pi/2))
din_128x8m81.add(gdstk.Reference(m2_m1__46894124_128x8m81, (3.35,41.76)))
din_128x8m81.add(gdstk.Reference(po_m1_128x8m81, (0.23,9.385)))
din_128x8m81.add(gdstk.Reference(po_m1_128x8m81, (2.545,4.92)))
din_128x8m81.add(gdstk.Reference(po_m1_128x8m81, (3.71,34.675), x_reflection=True))
din_128x8m81.add(gdstk.Reference(po_m1_128x8m81, (4.415,2.835), rotation=pi))
din_128x8m81.add(gdstk.Reference(m1_psub__46892076_128x8m, (10.33,26.125)))
din_128x8m81.add(gdstk.Reference(m1_nwell__46891052_128x8, (0,5.305)))
din_128x8m81.add(gdstk.Reference(via1_128x8m81, (3.12,37.305)))
din_128x8m81.add(gdstk.Reference(via1_128x8m81, (3.47,0.995)))
din_128x8m81.add(gdstk.Reference(via2_x2_128x8m81, (5.49,8.05)))
din_128x8m81.add(gdstk.Reference(via2_x2_128x8m81, (9.06,6.575), rotation=pi))
din_128x8m81.add(gdstk.Reference(via1_2_x2_128x8m81, (5.17,35.285)))
din_128x8m81.add(gdstk.Reference(via1_2_x2_128x8m81, (-0.23,13.035)))
din_128x8m81.add(gdstk.Reference(via1_2_x2_128x8m81, (6.465,8.775)))
din_128x8m81.add(gdstk.Reference(via1_2_x2_128x8m81, (12.245,9.25)))
din_128x8m81.add(gdstk.Reference(via1_2_x2_128x8m81, (-0.23,34.615)))
din_128x8m81.add(gdstk.Reference(via1_2_x2_128x8m81, (-0.23,37.61)))
din_128x8m81.add(gdstk.Reference(via1_2_x2_128x8m81, (7.62,34.785)))
din_128x8m81.add(gdstk.Reference(via1_2_x2_128x8m81, (-0.23,27.33)))
din_128x8m81.add(gdstk.Reference(via1_2_x2_128x8m81, (7.62,27.33)))
din_128x8m81.add(gdstk.Reference(via1_2_x2_128x8m81, (12.245,4.635)))
din_128x8m81.add(gdstk.Reference(via1_2_x2_128x8m81, (2.875,8.775)))
din_128x8m81.add(gdstk.Reference(via1_2_x2_128x8m81, (-0.23,4.49)))
din_128x8m81.add(gdstk.Reference(via1_2_x2_128x8m81, (7.555,17.615)))
din_128x8m81.add(gdstk.Reference(via1_2_x2_128x8m81, (7.555,22.355)))
din_128x8m81.add(gdstk.Reference(via1_2_x2_128x8m81, (-0.23,22.355)))
din_128x8m81.add(gdstk.Reference(via1_2_x2_128x8m81, (7.555,13.035)))
din_128x8m81.add(gdstk.Reference(via1_2_x2_128x8m81, (-0.23,17.615)))
din_128x8m81.add(gdstk.Reference(via1_2_x2_128x8m81, (6.895,6.575), rotation=pi))
din_128x8m81.add(gdstk.Reference(via1_2_x2_128x8m81, (4.95,6.575), rotation=pi))
din_128x8m81.add(gdstk.Reference(via1_2_x2_128x8m81, (4.04,4.83), rotation=pi))
din_128x8m81.add(gdstk.Reference(po_m1_r90_128x8m81, (6.05,5.62), rotation=pi/2))
din_128x8m81.add(gdstk.Reference(po_m1_r90_128x8m81, (6.41,24.78), rotation=pi/2))
din_128x8m81.add(gdstk.Reference(m2_m1__43375660_r90_128x, (0.525,8.435), rotation=pi/2))
din_128x8m81.add(gdstk.Reference(pmos_1p2__46273580_128x8, (7.06,8.14), x_reflection=True))
din_128x8m81.add(gdstk.Reference(pmos_1p2__46273580_128x8, (2.92,7.175), x_reflection=True))
din_128x8m81.add(gdstk.Reference(m3_m2__46895148_128x8m81, (3.35,41.76)))
din_128x8m81.add(gdstk.Reference(pmos_1p2__46887980_128x8, (0.415,26.22)))
din_128x8m81.add(gdstk.Reference(nmos_1p2__46883884_128x8, (2.655,12.695)))
din_128x8m81.add(gdstk.Reference(nmos_1p2__46883884_128x8, (7.135,12.695)))
din_128x8m81.add(gdstk.Reference(nmos_1p2__46883884_128x8, (4.895,12.695)))
din_128x8m81.add(gdstk.Reference(pmos_5p0431059054876_128, (2.765,3.195)))
din_128x8m81.add(gdstk.Reference(pmos_1p2__46885932_128x8, (7.06,3.605)))
din_128x8m81.add(gdstk.Reference(nmos_1p2__46884908_128x8, (0.415,10.43)))
din_128x8m81.add(gdstk.Reference(m3_m2__43368492_r90_128x, (0.525,8.435), rotation=pi/2))
din_128x8m81.add(gdstk.Reference(nmos_1p2__46563372_128x8, (3.47,9.035)))
din_128x8m81.add(gdstk.Reference(nmos_1p2__46563372_128x8, (7.06,10.495), x_reflection=True))
din_128x8m81.add(gdstk.Reference(m1_psub__46893100_128x8m, (9.54,18.78)))
din_128x8m81.add(gdstk.Reference(pmos_5p0431059054879_128, (6.98,26.22)))
din_128x8m81.add(gdstk.Reference(nmos_5p04310590548710_12, (11.165,10.925), x_reflection=True))
din_128x8m81.add(gdstk.Reference(nmos_5p04310590548711_12, (6.905,0.725)))
din_128x8m81.add(gdstk.Reference(nmos_5p04310590548711_12, (2.765,1.79), x_reflection=True))
din_128x8m81.add(gdstk.Label('vss', (7.785,16.12), layer=42, texttype=10))
din_128x8m81.add(gdstk.Label('vdd', (7.435,29.775), layer=42, texttype=10))
din_128x8m81.add(gdstk.Label('vdd', (6.685,4.59), layer=42, texttype=10))
din_128x8m81.add(gdstk.Label('d', (2.175,39.98), layer=36, texttype=10))
din_128x8m81.add(gdstk.Label('db', (4.435,39.98), layer=36, texttype=10))
din_128x8m81.add(gdstk.Label('vss', (6.14,40.985), layer=36, texttype=10))
din_128x8m81.add(gdstk.Label('datain', (1.88,2.54), layer=34, texttype=10))
din_128x8m81.add(gdstk.Label('wep', (5.25,41.815), layer=34, texttype=10))
din_128x8m81.add(gdstk.Label('men', (2.855,5.28), layer=34, texttype=10))
din_128x8m81.add(gdstk.Label('d', (6.27,43.99), layer=34, texttype=10))
din_128x8m81.add(gdstk.Label('db', (6.97,42.97), layer=34, texttype=10))

lib.write_gds('din_128x8m81.gds')
